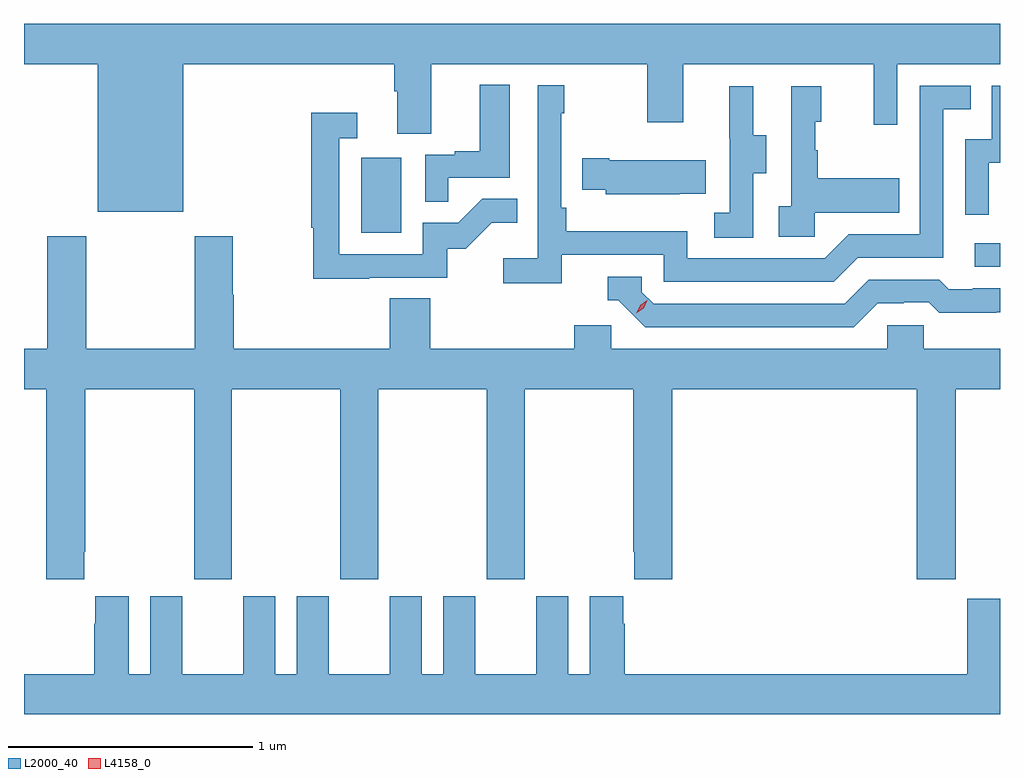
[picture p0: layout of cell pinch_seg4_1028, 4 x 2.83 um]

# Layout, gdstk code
import gdstk
lib = gdstk.Library(unit=1e-6, precision=1e-09)
def R(c, l, rs):  # rectangles x0, y0, x1, y1
    for r in rs: c.add(gdstk.rectangle(r[:2], r[2:], *l))
def P(c, l, *ps):  # polygons
    for p in ps: c.add(gdstk.Polygon(p, *l))
L2000_40 = (2000, 40)
L4158_0 = (4158, 0)

pinch_seg4_1028 = lib.new_cell('pinch_seg4_1028')
R(pinch_seg4_1028, L2000_40, [(804.975,754.698,805.078,754.794), (802.46,754.836,802.624,755.143)])
P(pinch_seg4_1028, L2000_40, [(801.73,755.528),(802.595,755.528),(802.595,755.416),(802.607,755.416),(802.607,755.242),(802.747,755.242),(802.747,755.528),(803.632,755.528),(803.632,755.289),(803.779,755.289),(803.779,755.528),(804.56,755.528),(804.56,755.28),(804.657,755.28),(804.657,755.528),(805.078,755.528),(805.078,755.692),(801.078,755.692),(801.078,755.528),(801.38,755.528),(801.38,754.922),(801.73,754.922)],
  [(802.817,755.061),(803.068,755.061),(803.068,755.443),(802.946,755.443),(802.946,755.17),(802.843,755.17),(802.843,755.157),(802.722,755.157),(802.722,754.963),(802.817,754.963)],
  [(803.282,754.746),(803.7,754.746),(803.7,754.635),(804.397,754.635),(804.496,754.734),(804.846,754.734),(804.846,755.343),(804.959,755.343),(804.959,755.439),(804.75,755.439),(804.75,754.83),(804.459,754.83),(804.36,754.731),(803.796,754.731),(803.796,754.843),(803.3,754.843),(803.3,754.939),(803.28,754.939),(803.28,755.327),(803.293,755.327),(803.293,755.44),(803.184,755.44),(803.184,754.732),(803.043,754.732),(803.043,754.63),(803.282,754.63)],
  [(805.032,755.123),(805.078,755.123),(805.078,755.439),(805.044,755.439),(805.044,755.22),(804.936,755.22),(804.936,754.911),(805.032,754.911)],
  [(804.066,755.08),(804.121,755.08),(804.121,755.235),(804.067,755.235),(804.067,755.437),(803.969,755.437),(803.969,755.223),(803.97,755.223),(803.97,754.919),(803.907,754.919),(803.907,754.816),(804.066,754.816)],
  [(804.318,754.919),(804.665,754.919),(804.665,755.059),(804.331,755.059),(804.331,755.174),(804.321,755.174),(804.321,755.292),(804.346,755.292),(804.346,755.437),(804.222,755.437),(804.222,754.946),(804.171,754.946),(804.171,754.821),(804.318,754.821)],
  [(802.493,754.653),(802.812,754.653),(802.812,754.77),(802.888,754.77),(802.995,754.877),(803.099,754.877),(803.099,754.976),(802.956,754.976),(802.858,754.878),(802.713,754.878),(802.713,754.749),(802.371,754.749),(802.371,755.223),(802.444,755.223),(802.444,755.329),(802.255,755.329),(802.255,754.856),(802.263,754.856),(802.263,754.648),(802.493,754.648)],
  [(803.765,754.997),(803.873,754.997),(803.873,755.134),(803.476,755.134),(803.476,755.142),(803.365,755.142),(803.365,755.012),(803.463,755.012),(803.463,754.994),(803.765,754.994)],
  [(801.325,753.529),(801.33,753.529),(801.33,754.196),(801.775,754.196),(801.775,753.417),(801.93,753.417),(801.93,754.196),(802.375,754.196),(802.375,753.417),(802.53,753.417),(802.53,754.196),(802.975,754.196),(802.975,753.417),(803.13,753.417),(803.13,754.196),(803.575,754.196),(803.575,753.529),(803.579,753.529),(803.579,753.417),(803.735,753.417),(803.735,754.196),(804.737,754.196),(804.737,753.417),(804.897,753.417),(804.897,754.196),(805.078,754.196),(805.078,754.36),(804.765,754.36),(804.765,754.458),(804.615,754.458),(804.615,754.36),(803.484,754.36),(803.484,754.458),(803.333,754.458),(803.333,754.36),(802.742,754.36),(802.742,754.568),(802.577,754.568),(802.577,754.36),(801.938,754.36),(801.938,754.583),(801.933,754.583),(801.933,754.822),(801.778,754.822),(801.778,754.36),(801.333,754.36),(801.333,754.822),(801.173,754.822),(801.173,754.36),(801.078,754.36),(801.078,754.196),(801.17,754.196),(801.17,753.417),(801.325,753.417)],
  [(804.577,754.548),(804.684,754.548),(804.684,754.551),(804.787,754.551),(804.829,754.509),(805.062,754.509),(805.062,754.511),(805.078,754.511),(805.078,754.608),(804.967,754.608),(804.967,754.605),(804.868,754.605),(804.829,754.644),(804.54,754.644),(804.441,754.545),(803.658,754.545),(803.61,754.593),(803.61,754.656),(803.471,754.656),(803.471,754.56),(803.514,754.56),(803.625,754.449),(804.478,754.449)],
  [(805.078,753.337),(804.944,753.337),(804.944,753.028),(803.54,753.028),(803.54,753.233),(803.533,753.233),(803.533,753.346),(803.396,753.346),(803.396,753.028),(803.308,753.028),(803.308,753.346),(803.177,753.346),(803.177,753.028),(802.927,753.028),(802.927,753.346),(802.796,753.346),(802.796,753.028),(802.708,753.028),(802.708,753.346),(802.577,753.346),(802.577,753.028),(802.327,753.028),(802.327,753.346),(802.196,753.346),(802.196,753.028),(802.108,753.028),(802.108,753.346),(801.977,753.346),(801.977,753.028),(801.727,753.028),(801.727,753.346),(801.596,753.346),(801.596,753.028),(801.508,753.028),(801.508,753.346),(801.371,753.346),(801.371,753.233),(801.365,753.233),(801.365,753.028),(801.078,753.028),(801.078,752.864),(805.078,752.864)])
P(pinch_seg4_1028, L4158_0, [(803.587,754.507),(803.587,754.507),(803.603,754.54),(803.633,754.559),(803.633,754.559),(803.633,754.559),(803.618,754.526),(803.587,754.507)])

lib.write_gds('pinch_seg4_1028.gds')
